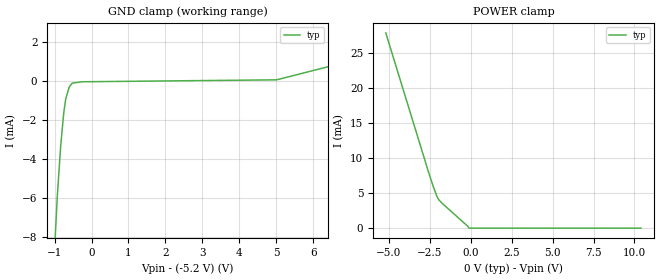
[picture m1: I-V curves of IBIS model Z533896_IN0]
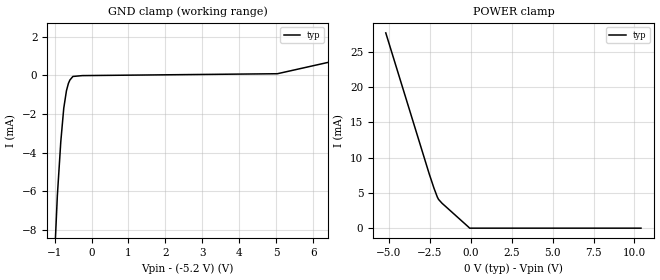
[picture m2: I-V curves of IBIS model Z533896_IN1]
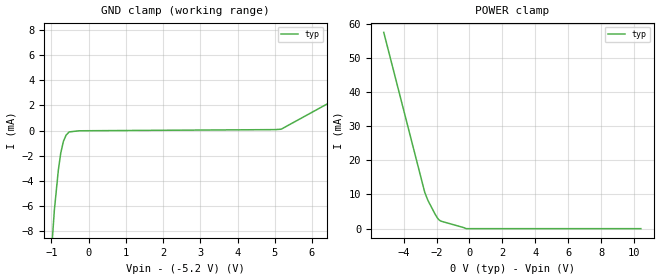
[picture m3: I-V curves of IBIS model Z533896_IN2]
| YOU ARE ONLY AUTHORIZED TO USE THIS SOFTWARE
| ACCORDING TO LICENSOR'S LICENSE RESTRICTIONS.
[IBIS Ver] 3.1
[File Name] mc10e156fn.ibs
[File Rev] 2.0
[Source] Measured and created by ICX Technology
[Date] Friday 7/14/00 9:07:49 AM
[Copyright]
| (C) COPYRIGHT 1993-2000
| MENTOR GRAPHICS CORPORATION
| ICX STANDARD LIBRARY, ICX PROJECT MODELING,
| ICX CUSTOM MODELING, ICX VENDOR MODEL
| ALL RIGHTS RESERVED.
| THE FOLLOWING ARE TRADEMARKS OR SERVICE MARKS OF
| MENTOR GRAPHICS CORPORATION:ICX (R), ICX STANDARD
| LIBRARY(R), ICX PROJECT MODELING(R), ICX CUSTOM
| MODELING(R), qualityIBIS(TM), MODELVIEWER(TM),
| AND MODELEDITOR(TM)
| ALL COPIES OF SOFTWARE, INCLUDING BUT NOT LIMITED TO
| ANY MODIFICATIONS, ENHANCEMENTS OR DERIVATIVE WORKS,
| MUST CONTAIN ALL MENTOR GRAPHICS CORPORATION'S
| NOTICES AND LEGENDS, INCLUDING THOSE EMBEDDED IN
| SOFTWARE AND THOSE AFFIXED TO SOFTWARE MEDIUM
| AND CONTAINER, AS RECEIVED FROM MENTOR GRAPHICS
| CORPORATION.
|  ZAP Model Builder 2.7
[Component] MC10E156FN
[Manufacturer] OnSemiconductor
[Package]
| variable   typ   min   max
R_pkg  .083ohms NA NA
L_pkg  4.299nH NA NA
C_pkg  1.045pF NA NA
[Pin] signal_name  model_name  R_pin  L_pin C_pin
1 VEE POWER .08 3.94n .925p
2 LEN1 Z533896_IN0 .082 4.14n .995p
3 LEN2 Z533896_IN0 .084 4.354n 1.065p
4 D1C Z533896_IN1 .086 4.583n 1.135p
5 D1D Z533896_IN1 .086 4.583n 1.135p
6 D0A Z533896_IN1 .084 4.354n 1.065p
7 D0B Z533896_IN1 .082 4.14n .995p
8 D0C Z533896_IN1 .08 3.94n .925p
9 D0D Z533896_IN1 .082 4.14n .995p
10 VCCO POWER .084 4.354n 1.065p
11 Q0 Z533896_OUT0 .086 4.583n 1.135p
12 _QO Z533896_OUT1 .086 4.583n 1.135p
13 VCCO POWER .084 4.354n 1.065p
14 Q1 Z533896_OUT0 .082 4.14n .995p
15 _Q1 Z533896_OUT1 .08 3.94n .925p
16 VCC POWER .082 4.14n .995p
17 Q2 Z533896_OUT0 .084 4.354n 1.065p
18 _Q2 Z533896_OUT1 .086 4.583n 1.135p
19 VCCO POWER .086 4.583n 1.135p
20 D2A Z533896_IN1 .084 4.354n 1.065p
21 D2B Z533896_IN1 .082 4.14n .995p
22 D2C Z533896_IN1 .08 3.94n .925p
23 D2D Z533896_IN1 .082 4.14n .995p
24 D1A Z533896_IN1 .084 4.354n 1.065p
25 D1B Z533896_IN1 .086 4.583n 1.135p
26 SEL0 Z533896_IN2 .086 4.583n 1.135p
27 SEL1 Z533896_IN2 .084 4.354n 1.065p
28 MR Z533896_IN3 .082 4.14n .995p
| Models and submodels in the file (6): Z533896_IN0 (Input_ECL), Z533896_IN1 (Input_ECL), Z533896_IN2 (Input_ECL), Z533896_IN3 (Input_ECL), Z533896_OUT0 (Output_ECL), Z533896_OUT1 (Output_ECL)
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| (C) COPYRIGHT 1993-2000
| MENTOR GRAPHICS CORPORATION
| ICX STANDARD LIBRARY, ICX PROJECT MODELING,
| ICX CUSTOM MODELING, ICX VENDOR MODEL
| ALL RIGHTS RESERVED.
| THE FOLLOWING ARE TRADEMARKS OR SERVICE MARKS OF
| MENTOR GRAPHICS CORPORATION:ICX (R), ICX STANDARD
| LIBRARY(R), ICX PROJECT MODELING(R), ICX CUSTOM
| MODELING(R), qualityIBIS(TM), MODELVIEWER(TM),
| AND MODELEDITOR(TM)
| ALL COPIES OF SOFTWARE, INCLUDING BUT NOT LIMITED TO
| ANY MODIFICATIONS, ENHANCEMENTS OR DERIVATIVE WORKS,
| MUST CONTAIN ALL MENTOR GRAPHICS CORPORATION'S
| NOTICES AND LEGENDS, INCLUDING THOSE EMBEDDED IN
| SOFTWARE AND THOSE AFFIXED TO SOFTWARE MEDIUM
| AND CONTAINER, AS RECEIVED FROM MENTOR GRAPHICS
| CORPORATION.
| Model Application Version 1.89 2/18/99.
[Model] Z533896_IN0
Model_type Input_ECL
Vinl = -1.480V
Vinh = -1.130V
C_comp 4.000pF NA NA
| variable typ   min   max
[Voltage Range] -5.200V NA NA
[GND Clamp Reference] -5.200V NA NA
[POWER Clamp Reference] 0.000V NA NA
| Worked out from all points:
|   GND clamp passes 1 mA (typ) near -0.71 V on its own axis
[GND Clamp]
-5.2V     -221.4mA   NA         NA
-1.087V   -11.88mA   NA         NA
-928mV    -5.938mA   NA         NA
-834mV    -3.296mA   NA         NA
-752mV    -1.612mA   NA         NA
-698mV    -896uA     NA         NA
-606mV    -297.5uA   NA         NA
-524mV    -91.58uA   NA         NA
-262mV    -21.03uA   NA         NA
5.01V     78.7uA     NA         NA
10.4V     2.678mA    NA         NA
[POWER Clamp]
-5.2V     27.8mA     NA         NA
-2.552V   7.726mA    NA         NA
-2.29V    5.88mA     NA         NA
-2.085V   4.595mA    NA         NA
-1.973V   4.079mA    NA         NA
-1.761V   3.552mA    NA         NA
-595.4mV  1.117mA    NA         NA
-205mV    316.6uA    NA         NA
-102.5mV  0A         NA         NA
10.4V     0A         NA         NA
| (C) COPYRIGHT 1993-2000
| MENTOR GRAPHICS CORPORATION
| ICX STANDARD LIBRARY, ICX PROJECT MODELING,
| ICX CUSTOM MODELING, ICX VENDOR MODEL
| ALL RIGHTS RESERVED.
| THE FOLLOWING ARE TRADEMARKS OR SERVICE MARKS OF
| MENTOR GRAPHICS CORPORATION:ICX (R), ICX STANDARD
| LIBRARY(R), ICX PROJECT MODELING(R), ICX CUSTOM
| MODELING(R), qualityIBIS(TM), MODELVIEWER(TM),
| AND MODELEDITOR(TM)
| ALL COPIES OF SOFTWARE, INCLUDING BUT NOT LIMITED TO
| ANY MODIFICATIONS, ENHANCEMENTS OR DERIVATIVE WORKS,
| MUST CONTAIN ALL MENTOR GRAPHICS CORPORATION'S
| NOTICES AND LEGENDS, INCLUDING THOSE EMBEDDED IN
| SOFTWARE AND THOSE AFFIXED TO SOFTWARE MEDIUM
| AND CONTAINER, AS RECEIVED FROM MENTOR GRAPHICS
| CORPORATION.
| Model Application Version 1.89 2/18/99.
[Model] Z533896_IN1
Model_type Input_ECL
Vinl = -1.480V
Vinh = -1.130V
C_comp 4.000pF NA NA
| variable typ   min   max
[Voltage Range] -5.200V NA NA
[GND Clamp Reference] -5.200V NA NA
[POWER Clamp Reference] 0.000V NA NA
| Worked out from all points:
|   GND clamp passes 1 mA (typ) near -0.69 V on its own axis
[GND Clamp]
-5.2V     -270.7mA   NA         NA
-1.079V   -12.75mA   NA         NA
-925mV    -6.22mA    NA         NA
-832mV    -3.432mA   NA         NA
-752mV    -1.709mA   NA         NA
-679mV    -801.9uA   NA         NA
-625mV    -417.8uA   NA         NA
-586mV    -249.6uA   NA         NA
-505mV    -64.52uA   NA         NA
-252.5mV  -19.74uA   NA         NA
5.031V    77.01uA    NA         NA
10.4V     2.369mA    NA         NA
[POWER Clamp]
-5.2V     27.67mA    NA         NA
-2.554V   7.76mA     NA         NA
-2.255V   5.674mA    NA         NA
-2.05V    4.413mA    NA         NA
-1.974V   4.074mA    NA         NA
-1.763V   3.533mA    NA         NA
-148.2mV  172.5uA    NA         NA
-74.1mV   0A         NA         NA
10.4V     0A         NA         NA
| (C) COPYRIGHT 1993-2000
| MENTOR GRAPHICS CORPORATION
| ICX STANDARD LIBRARY, ICX PROJECT MODELING,
| ICX CUSTOM MODELING, ICX VENDOR MODEL
| ALL RIGHTS RESERVED.
| THE FOLLOWING ARE TRADEMARKS OR SERVICE MARKS OF
| MENTOR GRAPHICS CORPORATION:ICX (R), ICX STANDARD
| LIBRARY(R), ICX PROJECT MODELING(R), ICX CUSTOM
| MODELING(R), qualityIBIS(TM), MODELVIEWER(TM),
| AND MODELEDITOR(TM)
| ALL COPIES OF SOFTWARE, INCLUDING BUT NOT LIMITED TO
| ANY MODIFICATIONS, ENHANCEMENTS OR DERIVATIVE WORKS,
| MUST CONTAIN ALL MENTOR GRAPHICS CORPORATION'S
| NOTICES AND LEGENDS, INCLUDING THOSE EMBEDDED IN
| SOFTWARE AND THOSE AFFIXED TO SOFTWARE MEDIUM
| AND CONTAINER, AS RECEIVED FROM MENTOR GRAPHICS
| CORPORATION.
| Model Application Version 1.89 2/18/99.
[Model] Z533896_IN2
Model_type Input_ECL
Vinl = -1.480V
Vinh = -1.130V
C_comp 4.000pF NA NA
| variable typ   min   max
[Voltage Range] -5.200V NA NA
[GND Clamp Reference] -5.200V NA NA
[POWER Clamp Reference] 0.000V NA NA
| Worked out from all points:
|   GND clamp passes 1 mA (typ) near -0.69 V on its own axis
[GND Clamp]
-5.2V     -270mA     NA         NA
-1.076V   -12.93mA   NA         NA
-923mV    -6.365mA   NA         NA
-816mV    -3.171mA   NA         NA
-751mV    -1.804mA   NA         NA
-679mV    -860uA     NA         NA
-606mV    -364.5uA   NA         NA
-525mV    -111.4uA   NA         NA
-262.5mV  -20.5uA    NA         NA
5.01V     72.78uA    NA         NA
5.171V    104.5uA    NA         NA
10.4V     8.612mA    NA         NA
[POWER Clamp]
-5.2V     57.42mA    NA         NA
-2.71V    10.56mA    NA         NA
-2.519V   8.25mA     NA         NA
-2.084V   4.229mA    NA         NA
-1.959V   3.228mA    NA         NA
-1.865V   2.641mA    NA         NA
-1.753V   2.25mA     NA         NA
-1.636V   2.063mA    NA         NA
-380.6mV  354.7uA    NA         NA
-190.3mV  0A         NA         NA
10.4V     0A         NA         NA
